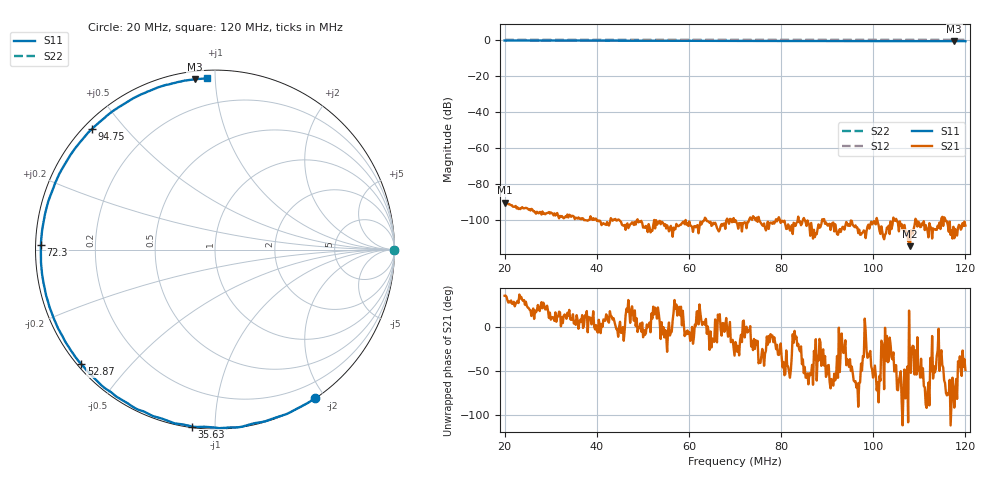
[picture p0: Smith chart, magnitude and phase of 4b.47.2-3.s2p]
! Anritsu VNA Master:  Model: MS2036C/10/77
! SN:  1601066
! /bd0/18may26.balun/4b.47.3.s2p
! Existing Calibration Information:
! TYPE:  Current Settings,  Active Cal Settings
! TIME:  05/26/2018 05:14:59 PM,  05/26/2018 05:08:07 PM
! INTERNAL TEMP:  52.8 C,  52.5 C
! # POINTS:  500,  500
! START FREQ:  20.000 MHz,  20.000 MHz
! STOP FREQ:  120.000 MHz,  120.000 MHz
! SOURCE POWER:  High,  High
! IFBW:  50 Hz,  50 Hz
! AVG FACTOR:  1 ,  1
! REF PLANE 1:  0 mm,  0 mm
! REF PLANE 2:  0 mm,  0 mm
! CAL TYPE:  Full S11,  Full S11
! CAL METHOD:  SOLT,  SOLT
! CAL LINE TYPE:  Coax,  Coax
! DUT PORT 1:  K-Conn(M),  K-Conn(M)
! DUT PORT 2:  K-Conn(M),  K-Conn(M)
! CAL STATUS:  OK: Accuracy High,  --
# GHZ S DB R 50.0
! FREQ.GHZ  S11DB  S11A  S21DB  S21A  S12DB  S12A  S22DB  S22A
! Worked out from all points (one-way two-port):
!   500 points, 20 MHz to 120 MHz, reference 50 ohm
!   highest |S21| = -90.44 dB at 20 MHz (marker M1); lowest = -114.7 dB at 108 MHz (marker M2)
!   lowest |S11| = -0.4 dB at 117.6 MHz (marker M3), VSWR 42.93, Z = 2.08 + j44.4 ohm
!   |S11| at or under -10 dB: nowhere
!   |S22| runs from 0.0 to 0.0 dB; largest |S21 - S12| = 1
!   S11 on the Smith chart (normalised r, x): 20 MHz: 0.01, -1.88; 35.63 MHz: 0.01, -0.88; 52.87 MHz: 0.01, -0.37; 72.3 MHz: 0.02, +0.01; 94.75 MHz: 0.02, +0.41; 120 MHz: 0.04, +0.95
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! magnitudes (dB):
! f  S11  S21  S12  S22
! 20 MHz  0.0  -90.4  0.0  0.0
! 23.81 MHz  0.0  -93.0  0.0  0.0
! 27.82 MHz  -0.1  -95.7  0.0  0.0
! 29.62 MHz  0.0  -95.7  0.0  0.0
! 33.83 MHz  -0.1  -98.7  0.0  0.0
! 35.63 MHz  -0.1  -99.0  0.0  0.0
! 36.83 MHz  -0.1  -99.1  0.0  0.0
! 37.84 MHz  -0.1  -100.4  0.0  0.0
! 39.44 MHz  -0.1  -100.1  0.0  0.0
! 43.25 MHz  -0.1  -99.9  0.0  0.0
! 44.65 MHz  -0.1  -99.9  0.0  0.0
! 48.46 MHz  -0.1  -102.7  0.0  0.0
! 52.87 MHz  -0.2  -100.3  0.0  0.0
! 53.47 MHz  -0.2  -101.0  0.0  0.0
! 70.1 MHz  -0.3  -100.2  0.0  0.0
! 72.3 MHz  -0.3  -101.9  0.0  0.0
! 86.73 MHz  -0.3  -106.4  0.0  0.0
! 94.75 MHz  -0.4  -102.4  0.0  0.0
! 103.4 MHz  -0.4  -103.3  0.0  0.0
! 108 MHz  -0.4  -114.7  0.0  0.0
! 117.6 MHz  -0.4  -110.3  0.0  0.0
! 120 MHz  -0.4  -103.3  0.0  0.0
